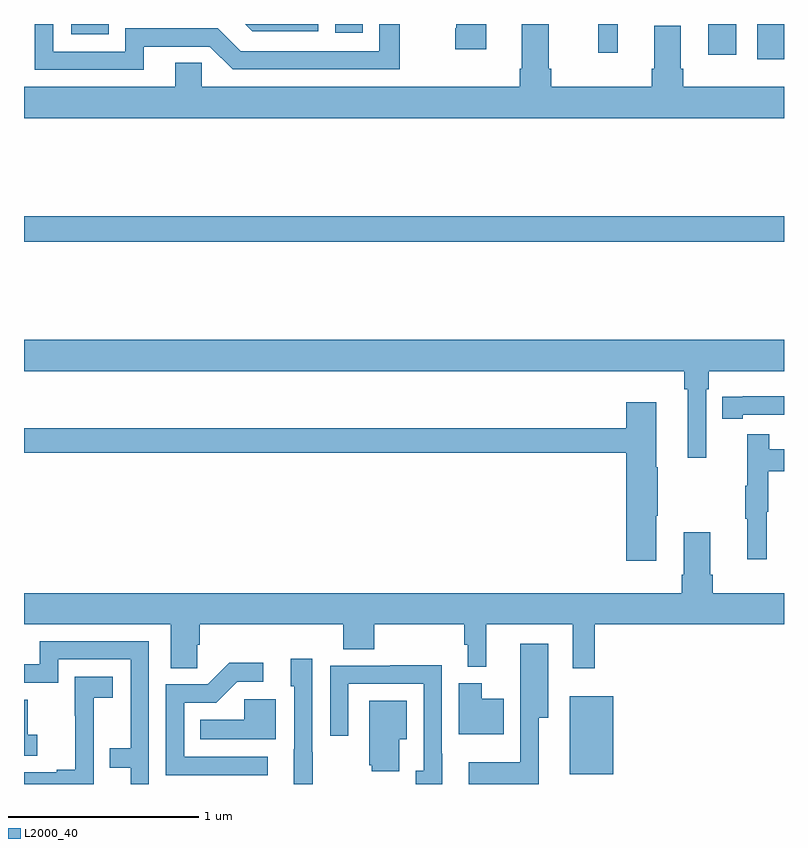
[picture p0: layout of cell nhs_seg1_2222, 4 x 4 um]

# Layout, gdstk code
import gdstk
lib = gdstk.Library(unit=1e-6, precision=1e-09)
def R(c, l, rs):  # rectangles x0, y0, x1, y1
    for r in rs: c.add(gdstk.rectangle(r[:2], r[2:], *l))
def P(c, l, *ps):  # polygons
    for p in ps: c.add(gdstk.Polygon(p, *l))
L2000_40 = (2000, 40)

nhs_seg1_2222 = lib.new_cell('nhs_seg1_2222')
R(nhs_seg1_2222, L2000_40, [(233.873,576.251,234.1,576.661), (231,579.052,235,579.188), (234.86,580.014,235,580.199), (234.602,580.038,234.748,580.199), (234.022,580.047,234.125,580.199), (231.249,580.145,231.447,580.199), (232.638,580.152,232.784,580.199)])
P(nhs_seg1_2222, L2000_40, [(235,579.868),(234.47,579.868),(234.47,579.964),(234.457,579.964),(234.457,580.189),(234.317,580.189),(234.317,579.964),(234.305,579.964),(234.305,579.868),(233.774,579.868),(233.774,579.964),(233.761,579.964),(233.761,580.199),(233.621,580.199),(233.621,579.964),(233.609,579.964),(233.609,579.868),(231.936,579.868),(231.936,579.995),(231.797,579.995),(231.797,579.868),(231,579.868),(231,579.704),(235,579.704)],
  [(231.631,580.08),(231.978,580.08),(232.098,579.96),(232.978,579.96),(232.978,580.199),(232.869,580.199),(232.869,580.056),(232.14,580.056),(232.02,580.176),(231.534,580.176),(231.534,580.053),(231.153,580.053),(231.153,580.199),(231.057,580.199),(231.057,579.957),(231.631,579.957)],
  [(232.548,580.199),(232.164,580.199),(232.202,580.161),(232.548,580.161)],
  [(233.434,580.199),(233.276,580.199),(233.276,580.177),(233.269,580.177),(233.269,580.065),(233.434,580.065)],
  [(234.591,578.276),(234.605,578.276),(234.605,578.372),(235,578.372),(235,578.536),(231,578.536),(231,578.372),(234.475,578.372),(234.475,578.276),(234.494,578.276),(234.494,577.917),(234.591,577.917)],
  [(234.784,578.142),(235,578.142),(235,578.239),(234.784,578.239),(234.784,578.238),(234.676,578.238),(234.676,578.122),(234.784,578.122)],
  [(234.328,577.612),(234.336,577.612),(234.336,577.865),(234.328,577.865),(234.328,578.209),(234.17,578.209),(234.17,578.071),(231,578.071),(231,577.942),(234.17,577.942),(234.17,577.374),(234.328,577.374)],
  [(234.908,577.632),(234.916,577.632),(234.916,577.846),(235,577.846),(235,577.962),(234.923,577.962),(234.923,578.041),(234.806,578.041),(234.806,577.769),(234.795,577.769),(234.795,577.595),(234.806,577.595),(234.806,577.383),(234.908,577.383)],
  [(234.005,577.04),(235,577.04),(235,577.204),(234.626,577.204),(234.626,577.3),(234.613,577.3),(234.613,577.525),(234.473,577.525),(234.473,577.3),(234.461,577.3),(234.461,577.204),(231,577.204),(231,577.04),(231.773,577.04),(231.773,576.808),(231.912,576.808),(231.912,576.931),(231.926,576.931),(231.926,577.04),(232.679,577.04),(232.679,576.907),(232.844,576.907),(232.844,577.04),(233.317,577.04),(233.317,576.933),(233.336,576.933),(233.336,576.815),(233.434,576.815),(233.434,577.04),(233.888,577.04),(233.888,576.807),(234.005,576.807)],
  [(231.657,576.951),(231.083,576.951),(231.083,576.828),(231,576.828),(231,576.732),(231.18,576.732),(231.18,576.855),(231.561,576.855),(231.561,576.386),(231.451,576.386),(231.451,576.285),(231.561,576.285),(231.561,576.199),(231.657,576.199)],
  [(233.71,576.548),(233.758,576.548),(233.758,576.937),(233.612,576.937),(233.612,576.313),(233.34,576.313),(233.34,576.199),(233.71,576.199)],
  [(232.521,576.365),(232.518,576.365),(232.518,576.859),(232.403,576.859),(232.403,576.714),(232.422,576.714),(232.422,576.383),(232.421,576.383),(232.421,576.199),(232.521,576.199)],
  [(232.282,576.342),(231.843,576.342),(231.843,576.627),(232.012,576.627),(232.123,576.738),(232.258,576.738),(232.258,576.836),(232.079,576.836),(231.966,576.723),(231.747,576.723),(231.747,576.246),(232.282,576.246)],
  [(233.2,576.358),(233.199,576.358),(233.199,576.824),(232.927,576.824),(232.927,576.822),(232.611,576.822),(232.611,576.453),(232.707,576.453),(232.707,576.726),(233.103,576.726),(233.103,576.27),(233.063,576.27),(233.063,576.199),(233.2,576.199)],
  [(231.366,576.425),(231.368,576.425),(231.368,576.653),(231.466,576.653),(231.466,576.763),(231.268,576.763),(231.268,576.557),(231.269,576.557),(231.269,576.274),(231.173,576.274),(231.173,576.261),(231,576.261),(231,576.199),(231.366,576.199)],
  [(233.524,576.649),(233.41,576.649),(233.41,576.73),(233.288,576.73),(233.288,576.461),(233.524,576.461)],
  [(232.324,576.646),(232.159,576.646),(232.159,576.538),(231.928,576.538),(231.928,576.434),(232.324,576.434)],
  [(231.07,576.457),(231.021,576.457),(231.021,576.642),(231,576.642),(231,576.348),(231.07,576.348)],
  [(232.975,576.434),(233.014,576.434),(233.014,576.637),(232.817,576.637),(232.817,576.297),(232.829,576.297),(232.829,576.266),(232.975,576.266)])

lib.write_gds('nhs_seg1_2222.gds')
